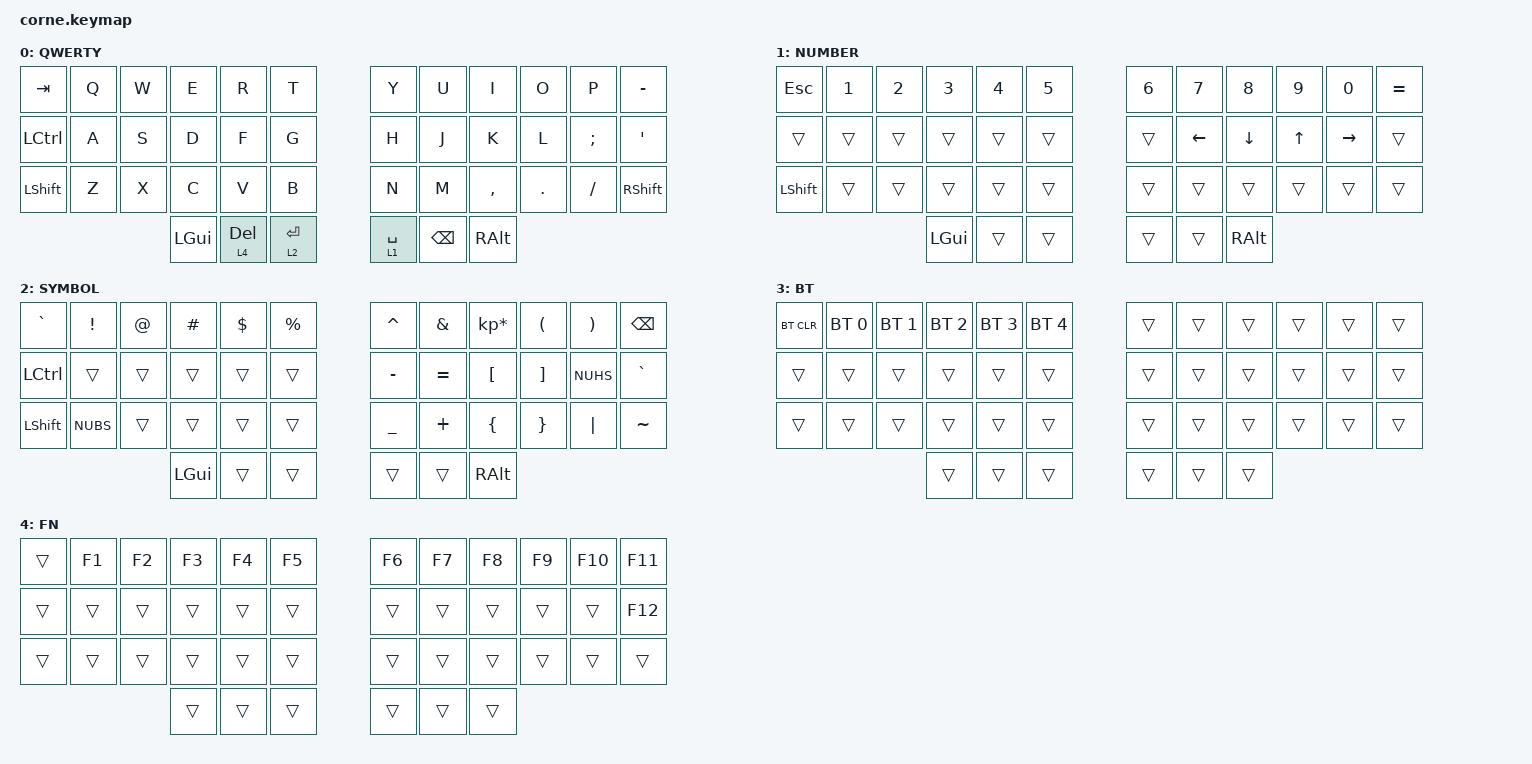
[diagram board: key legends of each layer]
/*
*
* Copyright (c) 2021 Darryl deHaan
* SPDX-License-Identifier: MIT
*
*/

#include <behaviors.dtsi>
#include <dt-bindings/zmk/keys.h>
#include <dt-bindings/zmk/bt.h>

/ {
    chosen {
        zmk,matrix_transform = &default_transform;
        // zmk,matrix_transform = &five_column_transform;
    };
};

/ {
    keymap {
        compatible = "zmk,keymap";

        default_layer {
            label = "QWERTY";
// --------------------------------------------------------------------------------
// |  TAB |  Q  |  W  |  E  |  R  |  T  |   |  Y  |  U   |  I  |  O  |  P  | BKSP |
// | CTRL |  A  |  S  |  D  |  F  |  G  |   |  H  |  J   |  K  |  L  |  ;  |  '   |
// | SHFT |  Z  |  X  |  C  |  V  |  B  |   |  N  |  M   |  ,  |  .  |  /  | ESC  |
//                    | GUI | LWR | SPC |   | ENT | RSE  | ALT |
            bindings = <
&kp TAB   &kp Q &kp W &kp E &kp R &kp T   &kp Y &kp U  &kp I     &kp O   &kp P    &kp MINUS
&kp LCTRL &kp A &kp S &kp D &kp F &kp G   &kp H &kp J  &kp K     &kp L   &kp SEMI &kp SQT
&kp LSHFT &kp Z &kp X &kp C &kp V &kp B   &kp N &kp M  &kp COMMA &kp DOT &kp FSLH &kp RSHIFT
               &kp LGUI &lt 4 DEL &lt 2 RET   &lt 1 SPACE  &kp BSPC &kp RALT
            >;
        };

        lower_layer {
            label = "NUMBER";
// -----------------------------------------------------------------------------------------
// |  TAB |  1  |  2  |  3  |  4  |  5  |   |  6  |  7  |  8  |  9  |  0  | BKSP |
// | BTCLR| BT1 | BT2 | BT3 | BT4 | BT5 |   | LFT | DWN |  UP | RGT |     |      |
// | SHFT |     |     |     |     |     |   |     |     |     |     |     |      |
//                    | GUI |     | SPC |   | ENT |     | ALT |
            bindings = <
&kp ESC    &kp N1       &kp N2       &kp N3       &kp N4       &kp N5         &kp N6   &kp N7   &kp N8 &kp N9    &kp N0 &kp EQUAL
&trans     &trans       &trans       &trans       &trans       &trans         &trans &kp LEFT &kp DOWN &kp UP &kp RIGHT &trans
&kp LSHFT  &trans       &trans       &trans       &trans       &trans         &trans   &trans   &trans &trans    &trans &trans
                                     &kp LGUI     &trans       &trans     &trans  &trans   &kp RALT
            >;
        };

        raise_layer {
            label = "SYMBOL";
// -----------------------------------------------------------------------------------------
// |  TAB |  !  |  @  |  #  |  $  |  %  |   |  ^  |  &  |  *  |  (  |  )  | BKSP |
// | CTRL |     |     |     |     |     |   |  -  |  =  |  [  |  ]  |  \  |  `   |
// | SHFT |     |     |     |     |     |   |  _  |  +  |  {  |  }  | "|" |  ~   |
//                    | GUI |     | SPC |   | ENT |     | ALT |
            bindings = <
&kp GRAVE  &kp EXCL &kp AT &kp HASH &kp DLLR &kp PRCNT   &kp CARET &kp AMPS  &kp KP_MULTIPLY &kp LPAR &kp RPAR &kp BSPC
&kp LCTRL &trans   &trans &trans   &trans   &trans      &kp MINUS &kp EQUAL &kp LBKT  &kp RBKT &kp NUHS &kp GRAVE
&kp LSHFT &kp NUBS &trans  &trans   &trans   &trans      &kp UNDER &kp PLUS  &kp LBRC  &kp RBRC &kp PIPE &kp TILDE
                          &kp LGUI &trans   &trans       &trans   &trans    &kp RALT
            >;
        };

        bluetooth_layer {
            label = "BT";
            bindings = <
&bt BT_CLR &bt BT_SEL 0 &bt BT_SEL 1 &bt BT_SEL 2 &bt BT_SEL 3 &bt BT_SEL 4 &trans &trans &trans &trans &trans &trans
&trans &trans &trans &trans &trans &trans &trans &trans &trans &trans &trans &trans
&trans &trans &trans &trans &trans &trans &trans &trans &trans &trans &trans &trans
&trans &trans &trans &trans &trans &trans
            >;
        };

        function_layer {
            label = "FN";
            bindings = <
&trans &kp F1 &kp F2 &kp F3 &kp F4 &kp F5 &kp F6 &kp F7 &kp F8 &kp F9 &kp F10 &kp F11
&trans &trans &trans &trans &trans &trans &trans &trans &trans &trans &trans &kp F12
&trans &trans &trans &trans &trans &trans &trans &trans &trans &trans &trans &trans
&trans &trans &trans &trans &trans &trans
            >;
        };
    };
};

/ {
    conditional_layers {
        compatible = "zmk,conditional-layers";
        tri_layer {
            if-layers = <1 2>;
            then-layer = <3>;
        };
    };
};
